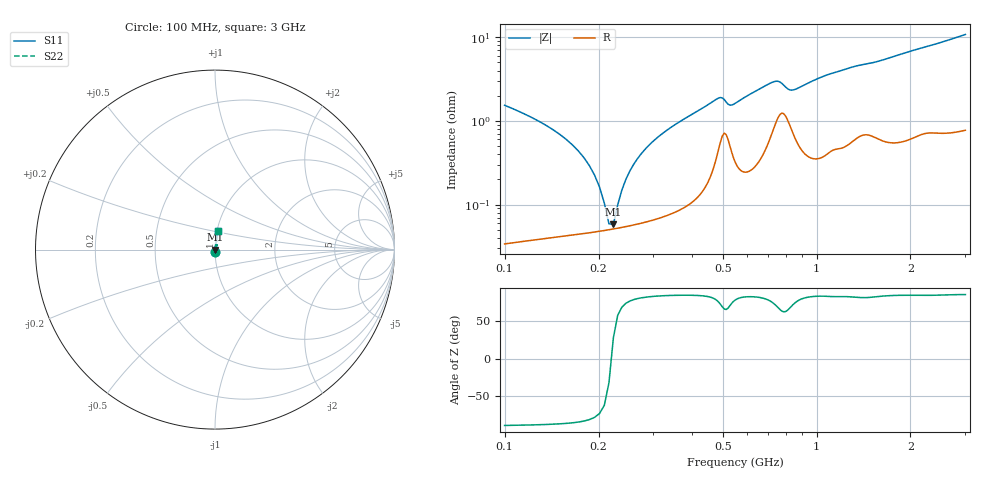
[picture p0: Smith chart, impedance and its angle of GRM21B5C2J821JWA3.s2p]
!Murata Part Number: GRM21B5C2J821JWA3
!These Parameters are Measured in Series Mode Connection
!Data Generated on Mar 30, 2021
!  o--ll--o
!Port1  Port2
!  o------o
!Operation Temp=25[degC], DC Bias Voltage=0[V]
!Freq. Start=100[MHz] Stop=3[GHz] 401[Steps]
# Hz S RI R 50
!Freq.(Hz) S11(Real) S11(Imag) S21(Real) S21(Imag) S12(Real) S12(Imag) S22(Real) S22(Imag)
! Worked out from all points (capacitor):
!   401 points, 100 MHz to 3 GHz, reference 50 ohm
!   read as one part in series: C = 820 pF near 114.5 MHz
!   lowest |Z| = 58.1 mohm at 223.2 MHz (marker M1)
!   series resonance near 219.8 MHz, so ESL is about 640 pH
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1e8  0.000575 -0.0154  0.9994 0.0154  0.9994 0.0154  0.000575 -0.0154
1.29e8  0.000481 -0.00986  0.9995 0.00986  0.9995 0.00986  0.000481 -0.00986
1.6525e8  0.000458 -0.00512  0.9995 0.00512  0.9995 0.00512  0.000458 -0.00512
1.87e8  0.000468 -0.00288  0.9995 0.00288  0.9995 0.00288  0.000468 -0.00288
2.0875e8  0.000491 -0.000918  0.9995 0.000918  0.9995 0.000918  0.000491 -0.000918
2.16e8  0.0005 -0.000311  0.9995 0.000311  0.9995 0.000311  0.0005 -0.000311
2.2325e8  0.000511 0.000276  0.9995 -0.000276  0.9995 -0.000276  0.000511 0.000276
2.305e8  0.000523 0.000847  0.9995 -0.000847  0.9995 -0.000847  0.000523 0.000847
2.5225e8  0.000564 0.00247  0.9994 -0.00247  0.9994 -0.00247  0.000564 0.00247
2.6675e8  0.000596 0.00349  0.9994 -0.00349  0.9994 -0.00349  0.000596 0.00349
2.885e8  0.000653 0.00496  0.9993 -0.00496  0.9993 -0.00496  0.000653 0.00496
3.2475e8  0.000772 0.00729  0.9992 -0.00729  0.9992 -0.00729  0.000772 0.00729
4.77e8  0.00386 0.0176  0.9961 -0.0176  0.9961 -0.0176  0.00386 0.0176
5.35e8  0.00438 0.0148  0.9956 -0.0148  0.9956 -0.0148  0.00438 0.0148
5.8575e8  0.00279 0.0187  0.9972 -0.0187  0.9972 -0.0187  0.00279 0.0187
7.3075e8  0.00903 0.0278  0.991 -0.0278  0.991 -0.0278  0.00903 0.0278
8.395e8  0.00758 0.022  0.9924 -0.022  0.9924 -0.022  0.00758 0.022
1.0715e9  0.00509 0.0345  0.9949 -0.0345  0.9949 -0.0345  0.00509 0.0345
1.55e9  0.00869 0.0496  0.9913 -0.0496  0.9913 -0.0496  0.00869 0.0496
2.03575e9  0.0109 0.068  0.9891 -0.068  0.9891 -0.068  0.0109 0.068
2.5215e9  0.0144 0.0852  0.9856 -0.0852  0.9856 -0.0852  0.0144 0.0852
3e9  0.0189 0.1048  0.9811 -0.1048  0.9811 -0.1048  0.0189 0.1048
